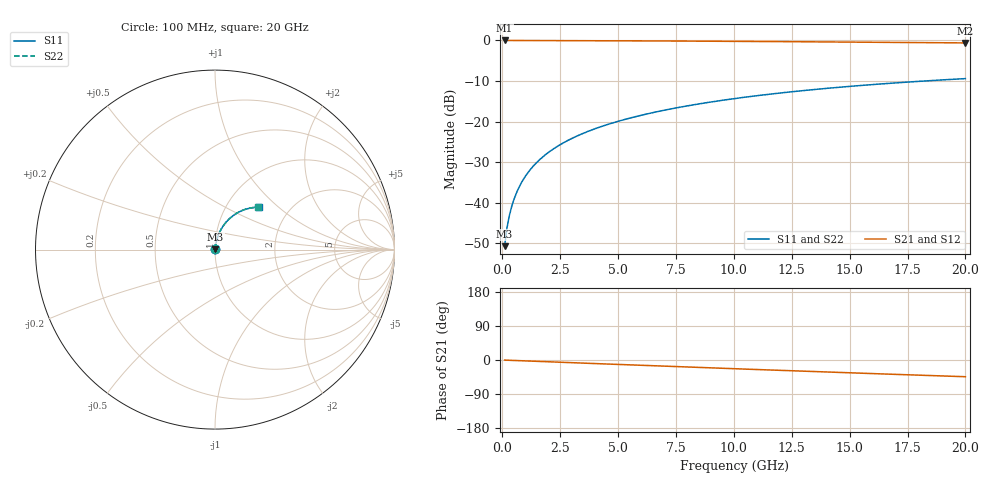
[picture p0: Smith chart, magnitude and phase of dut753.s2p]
! Touchstone file exported from HFSS 2026.1.0
!  File:  C:/ffzhzh/LocalFiles/Ansys_Project_Files/temp_train_TMRDL_753_1783155305_43440.aedt
!  Generated:  04:56:24 PM Jul  4, 2026
!  Design:  TMRDL
!  Project:  temp_train_TMRDL_753_1783155305_43440
! Variables:
!  h_bsmrdl = 2um
!  h_ox = 20um
!  h_rdl = 5um
!  h_sub = 80um
!  h_tmrdl = 5.8um
!  h_tsv = 80um
!  h_via = 3um
!  l_bsmrdl = 300um
!  l_sub = 1088.77um
!  l_tmrdl = 688.77um
!  m_sub = 200um
!  pitch = 51.78um
!  r_tsv = 6um
!  s_tmrdl = 10um
!  w_bsmrdl = 18um
!  w_sub = 500um
!  w_tmrdl = 26.77um
!  x_tsv_center1 = 702.155um
!  x_tsv_center2 = 1020.155um
!  x_tsv_center3 = 1735.695um
!  x_tsv_center4 = 2053.695um
!  x_tsv_center5 = 2769.235um
!  x_tsv_center6 = 3087.235um
# GHz S MA R 50.000000
! Terminal data exported
! Port[1] = TM_RDL1_1_T1
! Port[2] = TM_RDL1_1_T2
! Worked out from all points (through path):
!   200 points, 100 MHz to 20 GHz, reference 50 ohm
!   highest |S21| = -0.02 dB at 100 MHz (marker M1); lowest = -0.6 dB at 20 GHz (marker M2)
!   group delay of S21, straight-line fit = 6.13 ps
!   lowest |S11| = -50.7 dB at 100 MHz (marker M3), VSWR 1.01, Z = 50.2 + j0.232 ohm
!   |S11| at or under -10 dB: start of sweep to 18.23 GHz
!   |S22| runs from -50.7 to -9.4 dB; largest |S21 - S12| = 3e-15
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0.1  0.002924 52.2  0.9982 -0.3  0.9982 -0.3  0.002924 52.2
! Gamma 0 0 0 0
! Port Impedance 50 0 50 0
0.2  0.004866 66.0  0.9981 -0.5  0.9981 -0.5  0.004866 66.0
0.3  0.006858 72.0  0.9979 -0.7  0.9979 -0.7  0.006858 72.0
0.4  0.008882 75.3  0.9979 -1.0  0.9979 -1.0  0.008882 75.3
0.5  0.01093 77.4  0.9978 -1.2  0.9978 -1.2  0.01093 77.4
0.7  0.01506 79.7  0.9976 -1.7  0.9976 -1.7  0.01506 79.7
0.8  0.01714 80.4  0.9976 -1.9  0.9976 -1.9  0.01714 80.4
1  0.02129 81.1  0.9974 -2.4  0.9974 -2.4  0.02129 81.1
1.2  0.02544 81.4  0.9971 -2.9  0.9971 -2.9  0.02544 81.4
1.4  0.02958 81.5  0.9969 -3.3  0.9969 -3.3  0.02958 81.5
1.7  0.03576 81.3  0.9965 -4.1  0.9965 -4.1  0.03576 81.3
2  0.04188 80.9  0.996 -4.8  0.996 -4.8  0.04188 80.9
2.7  0.056 79.7  0.9947 -6.4  0.9947 -6.4  0.056 79.8
3.5  0.07183 78.2  0.993 -8.3  0.993 -8.3  0.07183 78.2
4.2  0.08545 76.8  0.9914 -9.9  0.9914 -9.9  0.08545 76.8
5  0.1008 75.2  0.9894 -11.7  0.9894 -11.7  0.1008 75.2
6.8  0.1345 71.5  0.9844 -15.8  0.9844 -15.8  0.1345 71.5
8.3  0.1617 68.3  0.9797 -19.2  0.9797 -19.2  0.1618 68.3
10.1  0.1932 64.5  0.9734 -23.2  0.9734 -23.2  0.1933 64.6
13.4  0.2472 57.6  0.9603 -30.4  0.9603 -30.4  0.2472 57.7
16.7  0.2958 50.9  0.9459 -37.3  0.9459 -37.3  0.2958 50.9
20  0.3384 44.3  0.9311 -44.1  0.9311 -44.1  0.3384 44.3
